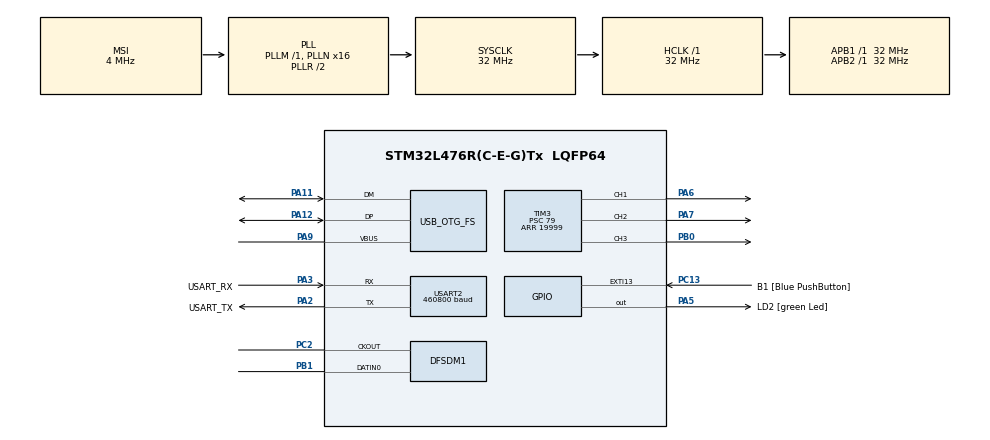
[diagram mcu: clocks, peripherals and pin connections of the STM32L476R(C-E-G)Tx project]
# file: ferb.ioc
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DFSDM1.Divider=5
DFSDM1.DmaMode_reg_FIL0=ENABLE
DFSDM1.Filter_regChannel_FIL0=DFSDM_CHANNEL_0
DFSDM1.Fosr_FIL0=128
DFSDM1.SincOrder_FIL0=DFSDM_FILTER_SINC3_ORDER
Dma.DFSDM1_FLT0.0.Direction=DMA_PERIPH_TO_MEMORY
Dma.DFSDM1_FLT0.0.Instance=DMA1_Channel4
Dma.DFSDM1_FLT0.0.MemDataAlignment=DMA_MDATAALIGN_WORD
Dma.DFSDM1_FLT0.0.MemInc=DMA_MINC_ENABLE
Dma.DFSDM1_FLT0.0.Mode=DMA_CIRCULAR
Dma.DFSDM1_FLT0.0.PeriphDataAlignment=DMA_PDATAALIGN_WORD
Dma.DFSDM1_FLT0.0.PeriphInc=DMA_PINC_DISABLE
Dma.DFSDM1_FLT0.0.Priority=DMA_PRIORITY_LOW
Dma.Request0=DFSDM1_FLT0
Mcu.Family=STM32L4
Mcu.Name=STM32L476R(C-E-G)Tx
Mcu.Package=LQFP64
NVIC.DFSDM1_FLT0_IRQn=true\:0\:0\:false\:false\:true\:true\:true\:true
NVIC.DMA1_Channel4_IRQn=true\:0\:0\:false\:false\:true\:false\:true\:true
NVIC.OTG_FS_IRQn=true\:0\:0\:false\:false\:true\:true\:true\:true
NVIC.PriorityGroup=NVIC_PRIORITYGROUP_4
PA11.Mode=Device_Only
PA11.Signal=USB_OTG_FS_DM
PA12.Mode=Device_Only
PA12.Signal=USB_OTG_FS_DP
PA13\ (JTMS-SWDIO).GPIO_Label=TMS
PA13\ (JTMS-SWDIO).Mode=Serial_Wire
PA13\ (JTMS-SWDIO).Signal=SYS_JTMS-SWDIO
PA14\ (JTCK-SWCLK).GPIO_Label=TCK
PA14\ (JTCK-SWCLK).Mode=Serial_Wire
PA14\ (JTCK-SWCLK).Signal=SYS_JTCK-SWCLK
PA2.GPIO_Label=USART_TX
PA2.GPIO_Mode=GPIO_MODE_AF_PP
PA2.GPIO_PuPd=GPIO_NOPULL
PA2.GPIO_Speed=GPIO_SPEED_FREQ_VERY_HIGH
PA2.Mode=Asynchronous
PA2.Signal=USART2_TX
PA3.GPIO_Label=USART_RX
PA3.GPIO_Mode=GPIO_MODE_AF_PP
PA3.GPIO_PuPd=GPIO_NOPULL
PA3.GPIO_Speed=GPIO_SPEED_FREQ_VERY_HIGH
PA3.Mode=Asynchronous
PA3.Signal=USART2_RX
PA5.GPIO_Label=LD2 [green Led]
PA5.GPIO_ModeDefaultOutputPP=GPIO_MODE_OUTPUT_PP
PA5.GPIO_PuPd=GPIO_NOPULL
PA5.GPIO_Speed=GPIO_SPEED_FREQ_LOW
PA5.Signal=GPIO_Output
PA6.Signal=S_TIM3_CH1
PA7.Signal=S_TIM3_CH2
PA9.Mode=Activate_VBUS
PA9.Signal=USB_OTG_FS_VBUS
PB0.Signal=S_TIM3_CH3
PB1.Signal=S_DATAIN0DFSDM1
PC13.GPIO_Label=B1 [Blue PushButton]
PC13.GPIO_ModeDefaultEXTI=GPIO_MODE_IT_FALLING
PC13.GPIO_PuPd=GPIO_NOPULL
PC13.Signal=GPXTI13
PC14-OSC32_IN\ (PC14).Mode=LSE-External-Oscillator
PC14-OSC32_IN\ (PC14).Signal=RCC_OSC32_IN
PC15-OSC32_OUT\ (PC15).Mode=LSE-External-Oscillator
PC15-OSC32_OUT\ (PC15).Signal=RCC_OSC32_OUT
PC2.Signal=S_CKOUTDFSDM1
PH0-OSC_IN\ (PH0).Signal=RCC_OSC_IN
PH1-OSC_OUT\ (PH1).Signal=RCC_OSC_OUT
ProjectManager.HeapSize=0x200
ProjectManager.StackSize=0x400
ProjectManager.TargetToolchain=STM32CubeIDE
RCC.ADCFreq_Value=48000000
RCC.AHBFreq_Value=32000000
RCC.APB1Freq_Value=32000000
RCC.APB1TimFreq_Value=32000000
RCC.APB2Freq_Value=32000000
RCC.APB2TimFreq_Value=32000000
RCC.CortexFreq_Value=32000000
RCC.HCLKFreq_Value=32000000
RCC.HSE_VALUE=8000000
RCC.HSI_VALUE=16000000
RCC.MSI_VALUE=4000000
RCC.PLLN=16
RCC.PLLSAI1N=24
RCC.PREFETCH_ENABLE=1
RCC.SYSCLKFreq_VALUE=32000000
RCC.SYSCLKSource=RCC_SYSCLKSOURCE_PLLCLK
RCC.USBFreq_Value=48000000
RCC.VCOOutputFreq_Value=64000000
SH.S_CKOUTDFSDM1.0=DFSDM1_CKOUT,PDM_SPI_input_from_ch0_and_internal_clock
SH.S_CKOUTDFSDM1.1=DFSDM1_CKOUT,CKOUT
SH.S_DATAIN0DFSDM1.0=DFSDM1_DATIN0,PDM_SPI_input_from_ch0_and_internal_clock
SH.S_TIM3_CH1.0=TIM3_CH1,PWM Generation1 CH1
SH.S_TIM3_CH2.0=TIM3_CH2,PWM Generation2 CH2
SH.S_TIM3_CH3.0=TIM3_CH3,PWM Generation3 CH3
TIM3.Channel-PWM\ Generation1\ CH1=TIM_CHANNEL_1
TIM3.Channel-PWM\ Generation2\ CH2=TIM_CHANNEL_2
TIM3.Channel-PWM\ Generation3\ CH3=TIM_CHANNEL_3
TIM3.Period=19999
TIM3.Prescaler=79
TIM3.Pulse-PWM\ Generation1\ CH1=1500
TIM3.Pulse-PWM\ Generation2\ CH2=1500
TIM3.Pulse-PWM\ Generation3\ CH3=1500
USART2.BaudRate=460800
USART2.VirtualMode-Asynchronous=VM_ASYNC
USB_DEVICE.CLASS_NAME_FS=CDC
USB_DEVICE.VirtualMode=Cdc
USB_DEVICE.VirtualModeFS=Cdc_FS
USB_OTG_FS.VirtualMode=Device_Only
VP_USB_DEVICE_VS_USB_DEVICE_CDC_FS.Mode=CDC_FS
board=NUCLEO-L476RG

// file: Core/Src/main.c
/* USER CODE BEGIN Header */
/**
  ******************************************************************************
  * @file           : main.c
  * @brief          : Main program body
  ******************************************************************************
  * @attention
  *
  * Copyright (c) 2026 STMicroelectronics.
  * All rights reserved.
  *
  * This software is licensed under terms that can be found in the LICENSE file
  * in the root directory of this software component.
  * If no LICENSE file comes with this software, it is provided AS-IS.
  *
  ******************************************************************************
  */
/* USER CODE END Header */
#include "main.h"
#include "usb_device.h"

/* USER CODE BEGIN Includes */
#include "usbd_cdc_if.h"

/* USER CODE END Includes */

DFSDM_Filter_HandleTypeDef hdfsdm1_filter0;
DFSDM_Channel_HandleTypeDef hdfsdm1_channel0;
DMA_HandleTypeDef hdma_dfsdm1_flt0;

TIM_HandleTypeDef htim3;

UART_HandleTypeDef huart2;

/* USER CODE BEGIN PV */
#define SAMPLE_RATE     16000
#define FRAME_MS        20
#define FRAME_SAMPLES   (SAMPLE_RATE * FRAME_MS / 1000) // 320
#define FRAME_BYTES     (FRAME_SAMPLES * 2)

#define MAGIC0 0xA5
#define MAGIC1 0x5A
#define PCM_BYTES   FRAME_BYTES     // 640
#define HDR_BYTES   6               // [A5 5A][uint16 fc][uint16 len]
#define PKT_BYTES   (HDR_BYTES + PCM_BYTES)

static uint16_t fc = 0;
static uint8_t tx_pkt[PKT_BYTES];

static int32_t dfsdm_dma[FRAME_SAMPLES * 2];

volatile uint32_t half0_pending = 0;
volatile uint32_t half1_pending = 0;

static int32_t dc = 0;

//// USB audio double-buffer (so USB can transmit while we fill next frame)
//static int16_t pcm_frame_a[FRAME_SAMPLES];
//static int16_t pcm_frame_b[FRAME_SAMPLES];
//extern volatile uint8_t usb_tx_busy;
//static uint8_t pcm_buf_sel = 0; // 0 -> a, 1 -> b

extern volatile uint8_t usb_tx_busy;

/* ---- NEW: small PCM frame queue (ring buffer) ---- */
#define PCM_Q_FRAMES  8   // 8 * 640B = 5120B RAM
static int16_t pcm_q[PCM_Q_FRAMES][FRAME_SAMPLES];
static volatile uint8_t pcm_q_w = 0;
static volatile uint8_t pcm_q_r = 0;
static volatile uint8_t pcm_q_count = 0;

static int16_t scratch0[FRAME_SAMPLES];
static int16_t scratch1[FRAME_SAMPLES];

/* USER CODE END PV */

void SystemClock_Config(void);
static void MX_GPIO_Init(void);
static void MX_DMA_Init(void);
static void MX_USART2_UART_Init(void);
static void MX_DFSDM1_Init(void);
static void MX_TIM3_Init(void);

/* USER CODE BEGIN 0 */

#include <stdio.h>
#include <string.h>
#include <stdint.h>

uint32_t frame_count = 0;
uint32_t last_tick = 0;

static uint8_t servo_test_done = 0;

typedef enum {
  SERVO_HEAD = 0,
  SERVO_ARM_L = 1,
  SERVO_ARM_R = 2
} servo_id_t;

// ---- Tune these per servo/mechanics ----
// MG995 typical: ~500-2500us, but safe range often ~1000-2000us.
// Start conservative, widen only if you need more travel.
#define SERVO_MIN_US  1000
#define SERVO_MAX_US  2000

static inline void pcm_q_push(const int16_t *frame)
{
  __disable_irq();
  if (pcm_q_count < PCM_Q_FRAMES) {
    memcpy(pcm_q[pcm_q_w], frame, FRAME_BYTES);
    pcm_q_w = (pcm_q_w + 1) % PCM_Q_FRAMES;
    pcm_q_count++;
  }
  // else: overflow -> drop newest frame (you can choose other policy)
  __enable_irq();
}

static inline int pcm_q_pop(int16_t **frame_out)
{
  int ok = 0;
  __disable_irq();
  if (pcm_q_count > 0) {
    *frame_out = pcm_q[pcm_q_r];
    pcm_q_r = (pcm_q_r + 1) % PCM_Q_FRAMES;
    pcm_q_count--;
    ok = 1;
  }
  __enable_irq();
  return ok;
}

static inline void usb_pump(void)
{
  if (usb_tx_busy) return;

  int16_t *frame;
  if (!pcm_q_pop(&frame)) return;

  // Build header
  tx_pkt[0] = MAGIC0;
  tx_pkt[1] = MAGIC1;
  tx_pkt[2] = (uint8_t)(fc & 0xFF);
  tx_pkt[3] = (uint8_t)(fc >> 8);
  tx_pkt[4] = (uint8_t)(PCM_BYTES & 0xFF);
  tx_pkt[5] = (uint8_t)(PCM_BYTES >> 8);

  memcpy(&tx_pkt[HDR_BYTES], frame, PCM_BYTES);

  if (CDC_Transmit_FS(tx_pkt, PKT_BYTES) == USBD_OK) {
    fc++;
  }
}

int _write(int file, char *ptr, int len)
{
  HAL_UART_Transmit(&huart2, (uint8_t*)ptr, len, HAL_MAX_DELAY);
  return len;
}

// Channel mapping (your pins: PA6=CH1, PA7=CH2, PB0=CH3)
static inline uint32_t servo_channel(servo_id_t id) {
  switch (id) {
    case SERVO_HEAD:  return TIM_CHANNEL_1;
    case SERVO_ARM_L: return TIM_CHANNEL_2;
    case SERVO_ARM_R: return TIM_CHANNEL_3;
    default:          return TIM_CHANNEL_1;
  }
}

static inline uint16_t clamp_u16(uint16_t x, uint16_t lo, uint16_t hi) {
  if (x < lo) return lo;
  if (x > hi) return hi;
  return x;
}

static inline uint16_t angle_to_us(uint8_t deg_0_180) {
  // Map 0..180 -> SERVO_MIN_US..SERVO_MAX_US
  // integer math, rounded
  uint32_t span = (uint32_t)(SERVO_MAX_US - SERVO_MIN_US);
  uint32_t us = (uint32_t)SERVO_MIN_US + (span * (uint32_t)deg_0_180 + 90u) / 180u;
  return (uint16_t)us;
}

// Low-level: set pulse width in microseconds (works b/c 1 tick = 1us)
static inline void Servo_SetPulseUS(servo_id_t id, uint16_t us) {
  us = clamp_u16(us, SERVO_MIN_US, SERVO_MAX_US);
  __HAL_TIM_SET_COMPARE(&htim3, servo_channel(id), us);
}

// High-level: set angle 0..180 (clamped)
void Servo_SetAngle(servo_id_t id, uint8_t deg) {
  if (deg > 180) deg = 180;
  Servo_SetPulseUS(id, angle_to_us(deg));
}

// Convenience wrappers
static inline void Head_SetAngle(uint8_t deg)   { Servo_SetAngle(SERVO_HEAD, deg); }
static inline void ArmL_SetAngle(uint8_t deg)   { Servo_SetAngle(SERVO_ARM_L, deg); }
static inline void ArmR_SetAngle(uint8_t deg)   { Servo_SetAngle(SERVO_ARM_R, deg); }

// Optional: smooth move (blocking). Call only when you *want* motion.
// step_deg: 1–5 typical, step_ms: 10–30 typical.
void Servo_MoveToBlocking(servo_id_t id, uint8_t from_deg, uint8_t to_deg,
                          uint8_t step_deg, uint16_t step_ms)
{
  if (from_deg > 180) from_deg = 180;
  if (to_deg > 180) to_deg = 180;
  if (step_deg == 0) step_deg = 1;

  if (to_deg >= from_deg) {
    for (uint16_t d = from_deg; d <= to_deg; d += step_deg) {
      Servo_SetAngle(id, (uint8_t)d);
      HAL_Delay(step_ms);
    }
  } else {
    for (int32_t d = (int32_t)from_deg; d >= (int32_t)to_deg; d -= (int32_t)step_deg) {
      Servo_SetAngle(id, (uint8_t)d);
      HAL_Delay(step_ms);
    }
  }
  Servo_SetAngle(id, to_deg);
}

/* USER CODE END 0 */

int main(void)
{

  /* MCU Configuration--------------------------------------------------------*/

  /* Reset of all peripherals, Initializes the Flash interface and the Systick. */
  HAL_Init();

  /* Configure the system clock */
  SystemClock_Config();

  /* Initialize all configured peripherals */
  MX_GPIO_Init();
  MX_DMA_Init();
  MX_USART2_UART_Init();
  MX_DFSDM1_Init();
  MX_USB_DEVICE_Init();
  MX_TIM3_Init();
  /* USER CODE BEGIN 2 */
  HAL_DFSDM_FilterRegularStart_DMA(
      &hdfsdm1_filter0,
      dfsdm_dma,
      FRAME_SAMPLES * 2
  );

  HAL_TIM_PWM_Start(&htim3, TIM_CHANNEL_1); // Head
  HAL_TIM_PWM_Start(&htim3, TIM_CHANNEL_2); // Left arm
  HAL_TIM_PWM_Start(&htim3, TIM_CHANNEL_3); // Right arm

  if(!servo_test_done){
  		  // --- SERVO SANITY TEST: run once then hold ---
  		  	  // Start from neutral
  		  	  Head_SetAngle(90);
  		  	  ArmL_SetAngle(90);
  		  	  ArmR_SetAngle(90);
  		  	  HAL_Delay(800);

  		  	  // Head sweep (small, safe)
  		  	  Head_SetAngle(60);
  		  	  HAL_Delay(800);
  		  	  Head_SetAngle(120);
  		  	  HAL_Delay(800);
  		  	  Head_SetAngle(90);
  		  	  HAL_Delay(800);

  		  	  // Arms up/down
  		  	  ArmL_SetAngle(40);
  		  	  ArmR_SetAngle(40);
  		  	  HAL_Delay(800);

  		  	  ArmL_SetAngle(130);
  		  	  ArmR_SetAngle(130);
  		  	  HAL_Delay(800);

  		  	  ArmL_SetAngle(90);
  		  	  ArmR_SetAngle(90);
  		  	  HAL_Delay(800);
  	  }

  /* USER CODE END 2 */

  /* Infinite loop */
  while (1)
  {

    /* USER CODE BEGIN 3 */
	  uint32_t do0, do1;

	  __disable_irq();
	  do0 = half0_pending; half0_pending = 0;
	  do1 = half1_pending; half1_pending = 0;
	  __enable_irq();

	  if (do0 == 0 && do1 == 0) {
	    usb_pump();
	    continue;
	  }

	  // Drain in correct time order: half0 then half1
	  while (do0 || do1) {

	      if (do0) {
	          int32_t *src = &dfsdm_dma[0];
	          int16_t *out = scratch0;

	          for (int i = 0; i < FRAME_SAMPLES; i++) {

	              int32_t s = src[i] >> 15;        // DFSDM -> approx int16 range

	              // remove DC (high-pass)
	              dc += (s - dc) >> 6;
	              s = s - dc;

	              // OPTIONAL small gain (comment this out if too loud)
	              s = s << 5;   // gain x2

	              // clip safely
	              if (s > 32767) s = 32767;
	              if (s < -32768) s = -32768;

	              out[i] = (int16_t)s;
	          }

//	          HAL_UART_Transmit(&huart2, (uint8_t*)pcm_frame, FRAME_BYTES, HAL_MAX_DELAY);// FOR UART TRANSMISSION

	          // Stream RAW PCM over USB CDC (non-blocking; drops frame if BUSY)
	          // Stream RAW PCM over USB CDC (non-blocking; drops frame if BUSY)
	          pcm_q_push(out);
	          usb_pump();
	          do0--;
	          frame_count++;
	      }

	      if (do1) {
	          int32_t *src = &dfsdm_dma[FRAME_SAMPLES];

	          int16_t *out = scratch1;

	          for (int i = 0; i < FRAME_SAMPLES; i++) {

	              int32_t s = src[i] >> 15;        // DFSDM -> approx int16 range

	              // remove DC (high-pass)
	              dc += (s - dc) >> 6;
	              s = s - dc;

	              // OPTIONAL small gain (comment this out if too loud)
	              s = s << 5;   // gain x2

	              // clip safely
	              if (s > 32767) s = 32767;
	              if (s < -32768) s = -32768;

	              out[i] = (int16_t)s;
	          }

//	          HAL_UART_Transmit(&huart2, (uint8_t*)pcm_frame, FRAME_BYTES, HAL_MAX_DELAY);// FOR UART TRANSMISSION

	          // Stream RAW PCM over USB CDC (non-blocking; drops frame if BUSY)
	          pcm_q_push(out);
	          usb_pump();

	          do1--;
	          frame_count++;
	      }
	  }

	  // 50 frames/sec check (now correct)
	  uint32_t now = HAL_GetTick();
	  if (now - last_tick >= 1000) {
//		  printf("hello my friend \r\n");
	      if (frame_count != 50) HAL_GPIO_TogglePin(LD2_GPIO_Port, LD2_Pin);
	      frame_count = 0;
	      last_tick = now;
//
//	      static const char msg[] = "PING\n";
//	      (void)CDC_Transmit_FS((uint8_t*)msg, sizeof(msg)-1);

	  }

  }
  /* USER CODE END 3 */
}

void SystemClock_Config(void)
{
  RCC_OscInitTypeDef RCC_OscInitStruct = {0};
  RCC_ClkInitTypeDef RCC_ClkInitStruct = {0};

  /** Configure the main internal regulator output voltage
  */
  if (HAL_PWREx_ControlVoltageScaling(PWR_REGULATOR_VOLTAGE_SCALE1) != HAL_OK)
  {
    Error_Handler();
  }

  /** Configure LSE Drive Capability
  */
  HAL_PWR_EnableBkUpAccess();
  __HAL_RCC_LSEDRIVE_CONFIG(RCC_LSEDRIVE_LOW);

  /** Initializes the RCC Oscillators according to the specified parameters
  * in the RCC_OscInitTypeDef structure.
  */
  RCC_OscInitStruct.OscillatorType = RCC_OSCILLATORTYPE_LSE|RCC_OSCILLATORTYPE_MSI;
  RCC_OscInitStruct.LSEState = RCC_LSE_ON;
  RCC_OscInitStruct.MSIState = RCC_MSI_ON;
  RCC_OscInitStruct.MSICalibrationValue = 0;
  RCC_OscInitStruct.MSIClockRange = RCC_MSIRANGE_6;
  RCC_OscInitStruct.PLL.PLLState = RCC_PLL_ON;
  RCC_OscInitStruct.PLL.PLLSource = RCC_PLLSOURCE_MSI;
  RCC_OscInitStruct.PLL.PLLM = 1;
  RCC_OscInitStruct.PLL.PLLN = 16;
  RCC_OscInitStruct.PLL.PLLP = RCC_PLLP_DIV7;
  RCC_OscInitStruct.PLL.PLLQ = RCC_PLLQ_DIV2;
  RCC_OscInitStruct.PLL.PLLR = RCC_PLLR_DIV2;
  if (HAL_RCC_OscConfig(&RCC_OscInitStruct) != HAL_OK)
  {
    Error_Handler();
  }

  /** Initializes the CPU, AHB and APB buses clocks
  */
  RCC_ClkInitStruct.ClockType = RCC_CLOCKTYPE_HCLK|RCC_CLOCKTYPE_SYSCLK
                              |RCC_CLOCKTYPE_PCLK1|RCC_CLOCKTYPE_PCLK2;
  RCC_ClkInitStruct.SYSCLKSource = RCC_SYSCLKSOURCE_PLLCLK;
  RCC_ClkInitStruct.AHBCLKDivider = RCC_SYSCLK_DIV1;
  RCC_ClkInitStruct.APB1CLKDivider = RCC_HCLK_DIV1;
  RCC_ClkInitStruct.APB2CLKDivider = RCC_HCLK_DIV1;

  if (HAL_RCC_ClockConfig(&RCC_ClkInitStruct, FLASH_LATENCY_1) != HAL_OK)
  {
    Error_Handler();
  }

  /** Enable MSI Auto calibration
  */
  HAL_RCCEx_EnableMSIPLLMode();
}

static void MX_DFSDM1_Init(void)
{

  hdfsdm1_filter0.Instance = DFSDM1_Filter0;
  hdfsdm1_filter0.Init.RegularParam.Trigger = DFSDM_FILTER_SW_TRIGGER;
  hdfsdm1_filter0.Init.RegularParam.FastMode = DISABLE;
  hdfsdm1_filter0.Init.RegularParam.DmaMode = ENABLE;
  hdfsdm1_filter0.Init.FilterParam.SincOrder = DFSDM_FILTER_SINC3_ORDER;
  hdfsdm1_filter0.Init.FilterParam.Oversampling = 128;
  hdfsdm1_filter0.Init.FilterParam.IntOversampling = 1;
  if (HAL_DFSDM_FilterInit(&hdfsdm1_filter0) != HAL_OK)
  {
    Error_Handler();
  }
  hdfsdm1_channel0.Instance = DFSDM1_Channel0;
  hdfsdm1_channel0.Init.OutputClock.Activation = ENABLE;
  hdfsdm1_channel0.Init.OutputClock.Selection = DFSDM_CHANNEL_OUTPUT_CLOCK_SYSTEM;
  hdfsdm1_channel0.Init.OutputClock.Divider = 5;
  hdfsdm1_channel0.Init.Input.Multiplexer = DFSDM_CHANNEL_EXTERNAL_INPUTS;
  hdfsdm1_channel0.Init.Input.DataPacking = DFSDM_CHANNEL_STANDARD_MODE;
  hdfsdm1_channel0.Init.Input.Pins = DFSDM_CHANNEL_SAME_CHANNEL_PINS;
  hdfsdm1_channel0.Init.SerialInterface.Type = DFSDM_CHANNEL_SPI_RISING;
  hdfsdm1_channel0.Init.SerialInterface.SpiClock = DFSDM_CHANNEL_SPI_CLOCK_INTERNAL;
  hdfsdm1_channel0.Init.Awd.FilterOrder = DFSDM_CHANNEL_FASTSINC_ORDER;
  hdfsdm1_channel0.Init.Awd.Oversampling = 1;
  hdfsdm1_channel0.Init.Offset = 0;
  hdfsdm1_channel0.Init.RightBitShift = 0x00;
  if (HAL_DFSDM_ChannelInit(&hdfsdm1_channel0) != HAL_OK)
  {
    Error_Handler();
  }
  if (HAL_DFSDM_FilterConfigRegChannel(&hdfsdm1_filter0, DFSDM_CHANNEL_0, DFSDM_CONTINUOUS_CONV_ON) != HAL_OK)
  {
    Error_Handler();
  }

}

static void MX_TIM3_Init(void)
{

  TIM_MasterConfigTypeDef sMasterConfig = {0};
  TIM_OC_InitTypeDef sConfigOC = {0};

  htim3.Instance = TIM3;
  htim3.Init.Prescaler = 79;
  htim3.Init.CounterMode = TIM_COUNTERMODE_UP;
  htim3.Init.Period = 19999;
  htim3.Init.ClockDivision = TIM_CLOCKDIVISION_DIV1;
  htim3.Init.AutoReloadPreload = TIM_AUTORELOAD_PRELOAD_DISABLE;
  if (HAL_TIM_PWM_Init(&htim3) != HAL_OK)
  {
    Error_Handler();
  }
  sMasterConfig.MasterOutputTrigger = TIM_TRGO_RESET;
  sMasterConfig.MasterSlaveMode = TIM_MASTERSLAVEMODE_DISABLE;
  if (HAL_TIMEx_MasterConfigSynchronization(&htim3, &sMasterConfig) != HAL_OK)
  {
    Error_Handler();
  }
  sConfigOC.OCMode = TIM_OCMODE_PWM1;
  sConfigOC.Pulse = 1500;
  sConfigOC.OCPolarity = TIM_OCPOLARITY_HIGH;
  sConfigOC.OCFastMode = TIM_OCFAST_DISABLE;
  if (HAL_TIM_PWM_ConfigChannel(&htim3, &sConfigOC, TIM_CHANNEL_1) != HAL_OK)
  {
    Error_Handler();
  }
  if (HAL_TIM_PWM_ConfigChannel(&htim3, &sConfigOC, TIM_CHANNEL_2) != HAL_OK)
  {
    Error_Handler();
  }
  if (HAL_TIM_PWM_ConfigChannel(&htim3, &sConfigOC, TIM_CHANNEL_3) != HAL_OK)
  {
    Error_Handler();
  }
  HAL_TIM_MspPostInit(&htim3);

}

static void MX_USART2_UART_Init(void)
{

  huart2.Instance = USART2;
  huart2.Init.BaudRate = 460800;
  huart2.Init.WordLength = UART_WORDLENGTH_8B;
  huart2.Init.StopBits = UART_STOPBITS_1;
  huart2.Init.Parity = UART_PARITY_NONE;
  huart2.Init.Mode = UART_MODE_TX_RX;
  huart2.Init.HwFlowCtl = UART_HWCONTROL_NONE;
  huart2.Init.OverSampling = UART_OVERSAMPLING_16;
  huart2.Init.OneBitSampling = UART_ONE_BIT_SAMPLE_DISABLE;
  huart2.AdvancedInit.AdvFeatureInit = UART_ADVFEATURE_NO_INIT;
  if (HAL_UART_Init(&huart2) != HAL_OK)
  {
    Error_Handler();
  }

}

static void MX_DMA_Init(void)
{

  /* DMA controller clock enable */
  __HAL_RCC_DMA1_CLK_ENABLE();

  /* DMA interrupt init */
  /* DMA1_Channel4_IRQn interrupt configuration */
  HAL_NVIC_SetPriority(DMA1_Channel4_IRQn, 0, 0);
  HAL_NVIC_EnableIRQ(DMA1_Channel4_IRQn);

}

static void MX_GPIO_Init(void)
{
  GPIO_InitTypeDef GPIO_InitStruct = {0};

  /* GPIO Ports Clock Enable */
  __HAL_RCC_GPIOC_CLK_ENABLE();
  __HAL_RCC_GPIOH_CLK_ENABLE();
  __HAL_RCC_GPIOA_CLK_ENABLE();
  __HAL_RCC_GPIOB_CLK_ENABLE();

  /*Configure GPIO pin Output Level */
  HAL_GPIO_WritePin(LD2_GPIO_Port, LD2_Pin, GPIO_PIN_RESET);

  /*Configure GPIO pin : B1_Pin */
  GPIO_InitStruct.Pin = B1_Pin;
  GPIO_InitStruct.Mode = GPIO_MODE_IT_FALLING;
  GPIO_InitStruct.Pull = GPIO_NOPULL;
  HAL_GPIO_Init(B1_GPIO_Port, &GPIO_InitStruct);

  /*Configure GPIO pin : LD2_Pin */
  GPIO_InitStruct.Pin = LD2_Pin;
  GPIO_InitStruct.Mode = GPIO_MODE_OUTPUT_PP;
  GPIO_InitStruct.Pull = GPIO_NOPULL;
  GPIO_InitStruct.Speed = GPIO_SPEED_FREQ_LOW;
  HAL_GPIO_Init(LD2_GPIO_Port, &GPIO_InitStruct);

}

/* USER CODE BEGIN 4 */

void HAL_DFSDM_FilterRegConvHalfCpltCallback(DFSDM_Filter_HandleTypeDef *hfilter)
{
    if (hfilter->Instance == DFSDM1_Filter0) half0_pending++;
}

void HAL_DFSDM_FilterRegConvCpltCallback(DFSDM_Filter_HandleTypeDef *hfilter)
{
    if (hfilter->Instance == DFSDM1_Filter0) half1_pending++;
}

/* USER CODE END 4 */

void Error_Handler(void)
{
  __disable_irq();
  while (1)
  {
  }
}
